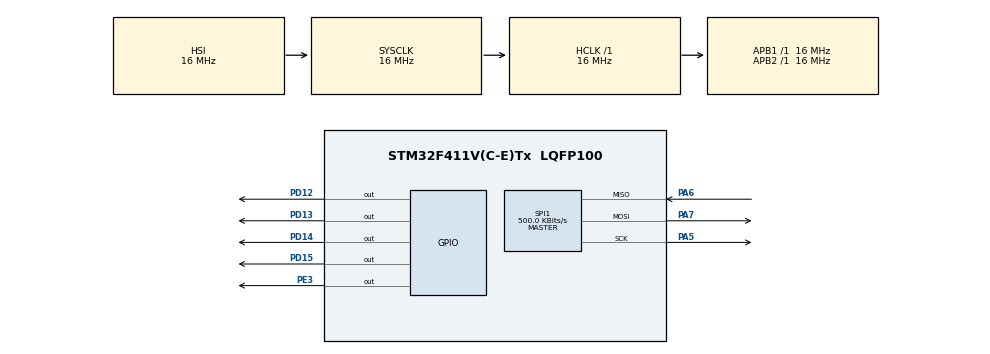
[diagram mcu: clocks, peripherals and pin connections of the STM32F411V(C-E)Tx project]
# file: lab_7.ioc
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Mcu.Family=STM32F4
Mcu.Name=STM32F411V(C-E)Tx
Mcu.Package=LQFP100
NVIC.PriorityGroup=NVIC_PRIORITYGROUP_4
PA5.Mode=Full_Duplex_Master
PA5.Signal=SPI1_SCK
PA6.Mode=Full_Duplex_Master
PA6.Signal=SPI1_MISO
PA7.Mode=Full_Duplex_Master
PA7.Signal=SPI1_MOSI
PD12.Signal=GPIO_Output
PD13.Signal=GPIO_Output
PD14.Signal=GPIO_Output
PD15.Signal=GPIO_Output
PE3.Signal=GPIO_Output
ProjectManager.HeapSize=0x200
ProjectManager.StackSize=0x400
ProjectManager.TargetToolchain=STM32CubeIDE
RCC.AHBFreq_Value=16000000
RCC.APB1Freq_Value=16000000
RCC.APB2Freq_Value=16000000
RCC.CortexFreq_Value=16000000
RCC.HSE_VALUE=25000000
RCC.HSI_VALUE=16000000
RCC.LSE_VALUE=32768
RCC.SYSCLKFreq_VALUE=16000000
RCC.VCOOutputFreq_Value=192000000
SPI1.BaudRatePrescaler=SPI_BAUDRATEPRESCALER_32
SPI1.CalculateBaudRate=500.0 KBits/s
SPI1.Direction=SPI_DIRECTION_2LINES
SPI1.FirstBit=SPI_FIRSTBIT_MSB
SPI1.Mode=SPI_MODE_MASTER
SPI1.VirtualType=VM_MASTER
board=custom

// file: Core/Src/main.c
/* USER CODE BEGIN Header */
/**
  ******************************************************************************
  * @file           : main.c
  * @brief          : Main program body
  ******************************************************************************
  * @attention
  *
  * Copyright (c) 2023 STMicroelectronics.
  * All rights reserved.
  *
  * This software is licensed under terms that can be found in the LICENSE file
  * in the root directory of this software component.
  * If no LICENSE file comes with this software, it is provided AS-IS.
  *
  ******************************************************************************
  */
/* USER CODE END Header */
#include "main.h"

/* USER CODE BEGIN Includes */
#include "stm32f411e_discovery_gyroscope.h"
#include "stm32f411e_discovery.h"
/* USER CODE END Includes */

SPI_HandleTypeDef hspi1;

void SystemClock_Config(void);
static void MX_GPIO_Init(void);
static void MX_SPI1_Init(void);

int main(void)
{

  /* MCU Configuration--------------------------------------------------------*/

  /* Reset of all peripherals, Initializes the Flash interface and the Systick. */
  HAL_Init();

  /* Configure the system clock */
  SystemClock_Config();

  /* Initialize all configured peripherals */
  MX_GPIO_Init();
  MX_SPI1_Init();
  /* USER CODE BEGIN 2 */
  BSP_GYRO_Init();
  /* USER CODE END 2 */

  /* Infinite loop */
  /* USER CODE BEGIN WHILE */
  while (1)
  {
	  float pfData[3];
	  BSP_GYRO_GetXYZ(&pfData);
	  pfData[0] *= 0.001;
	  pfData[1] *= 0.001;
	  pfData[2] *= 0.001;

	  HAL_GPIO_WritePin(GPIOD, GPIO_PIN_12 | GPIO_PIN_13 | GPIO_PIN_14 | GPIO_PIN_15, GPIO_PIN_RESET);

	  if (pfData[0] >= 5) {
		  HAL_GPIO_WritePin(GPIOD, GPIO_PIN_12, GPIO_PIN_SET);
	  } else if (pfData[0] <= -5) {
		  HAL_GPIO_WritePin(GPIOD, GPIO_PIN_14, GPIO_PIN_SET);
	  }

	  if (pfData[1] >= 5) {
		  HAL_GPIO_WritePin(GPIOD, GPIO_PIN_15, GPIO_PIN_SET);
	  } else if (pfData[1] <= -5) {
		  HAL_GPIO_WritePin(GPIOD, GPIO_PIN_13, GPIO_PIN_SET);
	  }

	  HAL_Delay(40);
    /* USER CODE END WHILE */

  }
}

void SystemClock_Config(void)
{
  RCC_OscInitTypeDef RCC_OscInitStruct = {0};
  RCC_ClkInitTypeDef RCC_ClkInitStruct = {0};

  /** Configure the main internal regulator output voltage
  */
  __HAL_RCC_PWR_CLK_ENABLE();
  __HAL_PWR_VOLTAGESCALING_CONFIG(PWR_REGULATOR_VOLTAGE_SCALE1);

  /** Initializes the RCC Oscillators according to the specified parameters
  * in the RCC_OscInitTypeDef structure.
  */
  RCC_OscInitStruct.OscillatorType = RCC_OSCILLATORTYPE_HSI;
  RCC_OscInitStruct.HSIState = RCC_HSI_ON;
  RCC_OscInitStruct.HSICalibrationValue = RCC_HSICALIBRATION_DEFAULT;
  RCC_OscInitStruct.PLL.PLLState = RCC_PLL_NONE;
  if (HAL_RCC_OscConfig(&RCC_OscInitStruct) != HAL_OK)
  {
    Error_Handler();
  }

  /** Initializes the CPU, AHB and APB buses clocks
  */
  RCC_ClkInitStruct.ClockType = RCC_CLOCKTYPE_HCLK|RCC_CLOCKTYPE_SYSCLK
                              |RCC_CLOCKTYPE_PCLK1|RCC_CLOCKTYPE_PCLK2;
  RCC_ClkInitStruct.SYSCLKSource = RCC_SYSCLKSOURCE_HSI;
  RCC_ClkInitStruct.AHBCLKDivider = RCC_SYSCLK_DIV1;
  RCC_ClkInitStruct.APB1CLKDivider = RCC_HCLK_DIV1;
  RCC_ClkInitStruct.APB2CLKDivider = RCC_HCLK_DIV1;

  if (HAL_RCC_ClockConfig(&RCC_ClkInitStruct, FLASH_LATENCY_0) != HAL_OK)
  {
    Error_Handler();
  }
}

static void MX_SPI1_Init(void)
{

  /* SPI1 parameter configuration*/
  hspi1.Instance = SPI1;
  hspi1.Init.Mode = SPI_MODE_MASTER;
  hspi1.Init.Direction = SPI_DIRECTION_2LINES;
  hspi1.Init.DataSize = SPI_DATASIZE_8BIT;
  hspi1.Init.CLKPolarity = SPI_POLARITY_LOW;
  hspi1.Init.CLKPhase = SPI_PHASE_1EDGE;
  hspi1.Init.NSS = SPI_NSS_SOFT;
  hspi1.Init.BaudRatePrescaler = SPI_BAUDRATEPRESCALER_32;
  hspi1.Init.FirstBit = SPI_FIRSTBIT_MSB;
  hspi1.Init.TIMode = SPI_TIMODE_DISABLE;
  hspi1.Init.CRCCalculation = SPI_CRCCALCULATION_DISABLE;
  hspi1.Init.CRCPolynomial = 10;
  if (HAL_SPI_Init(&hspi1) != HAL_OK)
  {
    Error_Handler();
  }

}

static void MX_GPIO_Init(void)
{
  GPIO_InitTypeDef GPIO_InitStruct = {0};

  /* GPIO Ports Clock Enable */
  __HAL_RCC_GPIOE_CLK_ENABLE();
  __HAL_RCC_GPIOA_CLK_ENABLE();
  __HAL_RCC_GPIOD_CLK_ENABLE();

  /*Configure GPIO pin Output Level */
  HAL_GPIO_WritePin(GPIOE, GPIO_PIN_3, GPIO_PIN_RESET);

  /*Configure GPIO pin Output Level */
  HAL_GPIO_WritePin(GPIOD, GPIO_PIN_12|GPIO_PIN_13|GPIO_PIN_14|GPIO_PIN_15, GPIO_PIN_RESET);

  /*Configure GPIO pin : PE3 */
  GPIO_InitStruct.Pin = GPIO_PIN_3;
  GPIO_InitStruct.Mode = GPIO_MODE_OUTPUT_PP;
  GPIO_InitStruct.Pull = GPIO_NOPULL;
  GPIO_InitStruct.Speed = GPIO_SPEED_FREQ_LOW;
  HAL_GPIO_Init(GPIOE, &GPIO_InitStruct);

  /*Configure GPIO pins : PD12 PD13 PD14 PD15 */
  GPIO_InitStruct.Pin = GPIO_PIN_12|GPIO_PIN_13|GPIO_PIN_14|GPIO_PIN_15;
  GPIO_InitStruct.Mode = GPIO_MODE_OUTPUT_PP;
  GPIO_InitStruct.Pull = GPIO_NOPULL;
  GPIO_InitStruct.Speed = GPIO_SPEED_FREQ_LOW;
  HAL_GPIO_Init(GPIOD, &GPIO_InitStruct);

}

void Error_Handler(void)
{
  __disable_irq();
  while (1)
  {
  }
}
